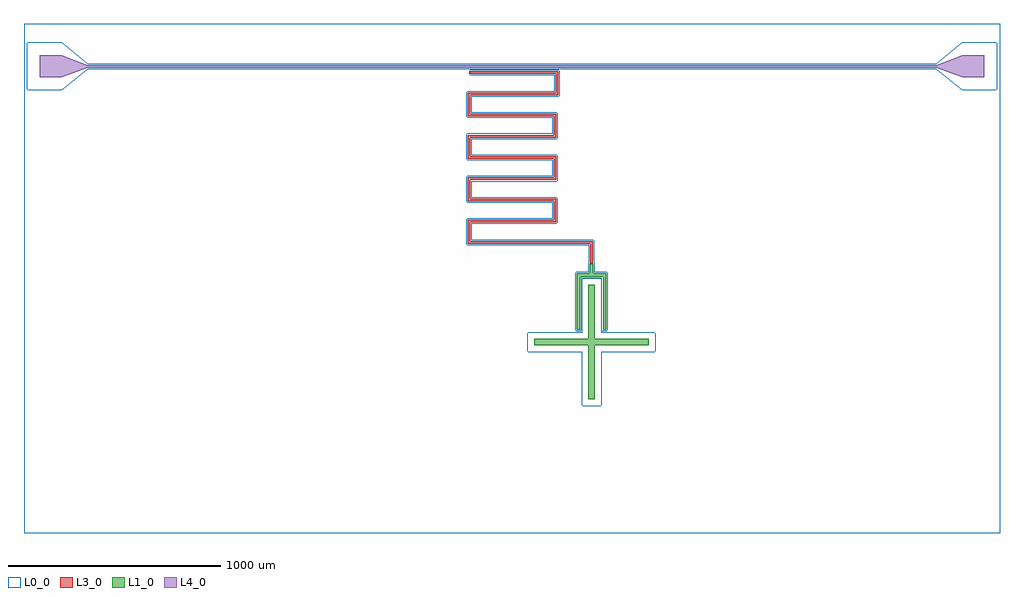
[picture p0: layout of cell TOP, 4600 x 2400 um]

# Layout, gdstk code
import gdstk
lib = gdstk.Library(unit=1e-6, precision=1e-09)
def P(c, l, *ps):  # polygons
    for p in ps: c.add(gdstk.Polygon(p, *l))
L0_0 = (0, 0)
L1_0 = (1, 0)
L3_0 = (3, 0)
L4_0 = (4, 0)

ground_main_1 = lib.new_cell('ground_main_1')

top_main_1 = lib.new_cell('TOP_main_1')
P(top_main_1, L1_0, [(360,-1570),(360,-1315),(105,-1315),(105,-1315),(105,-1285),(360,-1285),(360,-1030),(390,-1030),(390,-1285),(645,-1285),(645,-1315),(390,-1315),(390,-1570)],
  [(305.8,-1240.8),(305.8,-975.8),(367.5,-975.8),(367.5,-930.8),(382.5,-930.8),(382.5,-930.8),(382.5,-975.8),(444.2,-975.8),(444.2,-1240.8),(429.2,-1240.8),(429.2,-990.8),(382.5,-990.8),(367.5,-990.8),(320.8,-990.8),(320.8,-1240.8)])
top_main_1.add(gdstk.Reference(ground_main_1, (0,0)))

top_main_2 = lib.new_cell('TOP_main_2')

ground_main_3 = lib.new_cell('ground_main_3')

top_main_3 = lib.new_cell('TOP_main_3')
P(top_main_3, L3_0, [(369.15,-930.8),(369.15,-835.65),(-209.295,-835.65),(-209.295,-835.65),(-209.295,-723.95),(-209.295,-723.95),(197.595,-723.95),(197.595,-635.65),(-209.295,-635.65),(-209.295,-635.65),(-209.295,-523.95),(-209.295,-523.95),(197.595,-523.95),(197.595,-435.65),(-209.295,-435.65),(-209.295,-435.65),(-209.295,-323.95),(-209.295,-323.95),(197.595,-323.95),(197.595,-235.65),(-209.295,-235.65),(-209.295,-123.95),(207.033,-123.95),(207.033,-35.65),(-200,-35.65),(-200,-23.95),(218.733,-23.95),(218.733,-23.95),(218.733,-135.65),(-197.595,-135.65),(-197.595,-223.95),(209.295,-223.95),(209.295,-335.65),(209.295,-335.65),(-197.595,-335.65),(-197.595,-423.95),(209.295,-423.95),(209.295,-423.95),(209.295,-535.65),(209.295,-535.65),(-197.595,-535.65),(-197.595,-623.95),(209.295,-623.95),(209.295,-623.95),(209.295,-735.65),(209.295,-735.65),(-197.595,-735.65),(-197.595,-823.95),(380.85,-823.95),(380.85,-823.95),(380.85,-930.8)])
top_main_3.add(gdstk.Reference(ground_main_3, (0,0)))

ground_main_4 = lib.new_cell('ground_main_4')

top_main_4 = lib.new_cell('TOP_main_4')
top_main_4.add(gdstk.Reference(ground_main_4, (0,0)))

top_main = lib.new_cell('TOP_main')
P(top_main, L1_0, [(360,-1570),(360,-1315),(105,-1315),(105,-1315),(105,-1285),(360,-1285),(360,-1030),(390,-1030),(390,-1285),(645,-1285),(645,-1315),(390,-1315),(390,-1570)],
  [(305.8,-1240.8),(305.8,-975.8),(367.5,-975.8),(367.5,-930.8),(382.5,-930.8),(382.5,-930.8),(382.5,-975.8),(444.2,-975.8),(444.2,-1240.8),(429.2,-1240.8),(429.2,-990.8),(382.5,-990.8),(367.5,-990.8),(320.8,-990.8),(320.8,-1240.8)])
P(top_main, L3_0, [(369.15,-930.8),(369.15,-835.65),(-209.295,-835.65),(-209.295,-835.65),(-209.295,-723.95),(-209.295,-723.95),(197.595,-723.95),(197.595,-635.65),(-209.295,-635.65),(-209.295,-635.65),(-209.295,-523.95),(-209.295,-523.95),(197.595,-523.95),(197.595,-435.65),(-209.295,-435.65),(-209.295,-435.65),(-209.295,-323.95),(-209.295,-323.95),(197.595,-323.95),(197.595,-235.65),(-209.295,-235.65),(-209.295,-123.95),(207.033,-123.95),(207.033,-35.65),(-200,-35.65),(-200,-23.95),(218.733,-23.95),(218.733,-23.95),(218.733,-135.65),(-197.595,-135.65),(-197.595,-223.95),(209.295,-223.95),(209.295,-335.65),(209.295,-335.65),(-197.595,-335.65),(-197.595,-423.95),(209.295,-423.95),(209.295,-423.95),(209.295,-535.65),(209.295,-535.65),(-197.595,-535.65),(-197.595,-623.95),(209.295,-623.95),(209.295,-623.95),(209.295,-735.65),(209.295,-735.65),(-197.595,-735.65),(-197.595,-823.95),(380.85,-823.95),(380.85,-823.95),(380.85,-930.8)])
top_main.add(gdstk.Reference(top_main_1, (0,0)))
top_main.add(gdstk.Reference(top_main_2, (0,0)))
top_main.add(gdstk.Reference(top_main_3, (0,0)))
top_main.add(gdstk.Reference(top_main_4, (0,0)))

top = lib.new_cell('TOP')
P(top, L0_0, [(-2300,-2200),(-2300,111.5),(2122,111.5),(2000,10.95),(-2000,10.95),(-2122,111.5),(-2285,111.5),(-2285,-111.5),(-2122,-111.5),(-2009.585,-18.85),(-200,-18.85),(-200,-40.75),(201.933,-40.75),(201.933,-118.85),(-214.395,-118.85),(-214.395,-240.75),(192.495,-240.75),(192.495,-318.85),(-214.395,-318.85),(-214.395,-440.75),(192.495,-440.75),(192.495,-518.85),(-214.395,-518.85),(-214.395,-640.75),(192.495,-640.75),(192.495,-718.85),(-214.395,-718.85),(-214.395,-840.75),(364.05,-840.75),(364.05,-925.7),(362.4,-925.7),(362.4,-970.7),(300.7,-970.7),(300.7,-1245.9),(325.9,-1245.9),(325.9,-1000),(330,-1000),(330,-1255),(75,-1255),(75,-1345),(330,-1345),(330,-1600),(420,-1600),(420,-1345),(675,-1345),(675,-1255),(420,-1255),(420,-1000),(325.9,-1000),(325.9,-995.9),(424.1,-995.9),(424.1,-1245.9),(449.3,-1245.9),(449.3,-970.7),(387.6,-970.7),(387.6,-925.7),(385.95,-925.7),(385.95,-818.85),(-192.495,-818.85),(-192.495,-740.75),(214.395,-740.75),(214.395,-618.85),(-192.495,-618.85),(-192.495,-540.75),(214.395,-540.75),(214.395,-418.85),(-192.495,-418.85),(-192.495,-340.75),(214.395,-340.75),(214.395,-218.85),(-192.495,-218.85),(-192.495,-140.75),(223.833,-140.75),(223.833,-18.85),(-2009.585,-18.85),(-2000,-10.95),(2000,-10.95),(2122,-111.5),(2285,-111.5),(2285,111.5),(-2300,111.5),(-2300,200),(2300,200),(2300,-2200)])
P(top, L1_0, [(360,-1570),(360,-1315),(105,-1315),(105,-1315),(105,-1285),(360,-1285),(360,-1030),(390,-1030),(390,-1285),(645,-1285),(645,-1315),(390,-1315),(390,-1570)],
  [(305.8,-1240.8),(305.8,-975.8),(367.5,-975.8),(367.5,-930.8),(382.5,-930.8),(382.5,-930.8),(382.5,-975.8),(444.2,-975.8),(444.2,-1240.8),(429.2,-1240.8),(429.2,-990.8),(382.5,-990.8),(367.5,-990.8),(320.8,-990.8),(320.8,-1240.8)])
P(top, L3_0, [(369.15,-930.8),(369.15,-835.65),(-209.295,-835.65),(-209.295,-835.65),(-209.295,-723.95),(-209.295,-723.95),(197.595,-723.95),(197.595,-635.65),(-209.295,-635.65),(-209.295,-635.65),(-209.295,-523.95),(-209.295,-523.95),(197.595,-523.95),(197.595,-435.65),(-209.295,-435.65),(-209.295,-435.65),(-209.295,-323.95),(-209.295,-323.95),(197.595,-323.95),(197.595,-235.65),(-209.295,-235.65),(-209.295,-123.95),(207.033,-123.95),(207.033,-35.65),(-200,-35.65),(-200,-23.95),(218.733,-23.95),(218.733,-23.95),(218.733,-135.65),(-197.595,-135.65),(-197.595,-223.95),(209.295,-223.95),(209.295,-335.65),(209.295,-335.65),(-197.595,-335.65),(-197.595,-423.95),(209.295,-423.95),(209.295,-423.95),(209.295,-535.65),(209.295,-535.65),(-197.595,-535.65),(-197.595,-623.95),(209.295,-623.95),(209.295,-623.95),(209.295,-735.65),(209.295,-735.65),(-197.595,-735.65),(-197.595,-823.95),(380.85,-823.95),(380.85,-823.95),(380.85,-930.8)])
P(top, L4_0, [(-2225,-51.5),(-2225,51.5),(-2122,51.5),(-2000,5.85),(2000,5.85),(2122,51.5),(2225,51.5),(2225,-51.5),(2122,-51.5),(2000,-5.85),(-2000,-5.85),(-2122,-51.5)])
top.add(gdstk.Reference(top_main, (0,0)))

lib.write_gds('TOP.gds')
